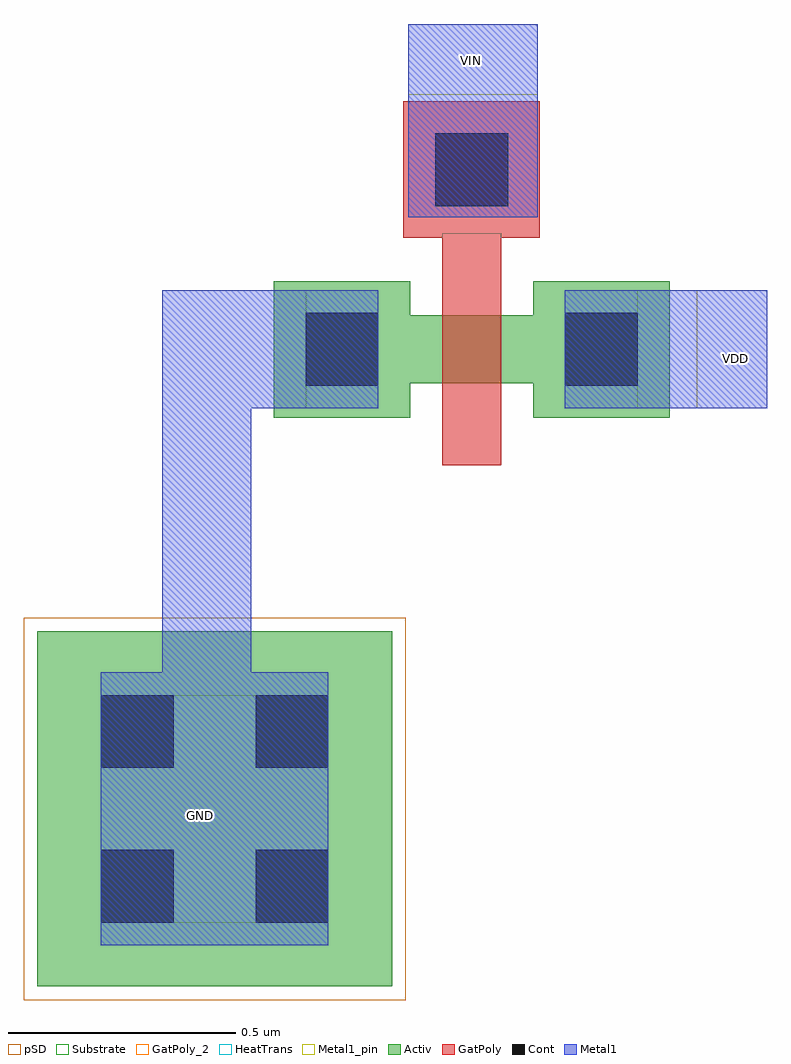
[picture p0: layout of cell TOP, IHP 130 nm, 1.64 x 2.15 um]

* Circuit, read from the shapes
.subckt TOP GND VDD VIN
XM1 VDD VIN GND GND sg13_lv_nmos w=0.15u l=0.13u
.ends

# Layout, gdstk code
import gdstk
lib = gdstk.Library(unit=1e-6, precision=1e-09)
def R(c, l, rs):  # rectangles x0, y0, x1, y1
    for r in rs: c.add(gdstk.rectangle(r[:2], r[2:], *l))
def P(c, l, *ps):  # polygons
    for p in ps: c.add(gdstk.Polygon(p, *l))
Activ = (1, 0)
GatPoly = (5, 0)
GatPoly_2 = (5, 2)
Cont = (6, 0)
Metal1 = (8, 0)
Metal1_pin = (8, 2)
pSD = (14, 0)
Substrate = (40, 0)
HeatTrans = (51, 0)

ptap1 = lib.new_cell('ptap1')
R(ptap1, Activ, [(0,0,0.78,0.78)])
R(ptap1, Cont, [(0.14,0.14,0.3,0.3), (0.48,0.14,0.64,0.3), (0.14,0.48,0.3,0.64), (0.48,0.48,0.64,0.64)])
R(ptap1, Metal1, [(0.14,0.09,0.64,0.69), (0.14,0.14,0.64,0.64)])
R(ptap1, Metal1_pin, [(0.14,0.14,0.64,0.64)])
R(ptap1, pSD, [(-0.03,-0.03,0.81,0.81)])
R(ptap1, Substrate, [(0,0,0.78,0.78)])
ptap1.add(gdstk.Label('sub!', (0.39,0.01), layer=63, texttype=0))
ptap1.add(gdstk.Label('sub!', (0.39,0.01), layer=40, texttype=0))

nmos = lib.new_cell('nmos')
R(nmos, Activ, [(0,0,0.3,0.3), (0.57,0,0.87,0.3), (0,0.075,0.87,0.225)])
R(nmos, GatPoly, [(0.37,-0.105,0.5,0.405)])
R(nmos, GatPoly_2, [(0.37,-0.105,0.5,0.405)])
R(nmos, Cont, [(0.07,0.07,0.23,0.23), (0.64,0.07,0.8,0.23)])
R(nmos, Metal1, [(0.07,0.02,0.23,0.28), (0.64,0.02,0.8,0.28)])
R(nmos, Metal1_pin, [(0.07,0.02,0.23,0.28), (0.64,0.02,0.8,0.28)])
R(nmos, HeatTrans, [(0.37,-0.105,0.5,0.405)])
nmos.add(gdstk.Label('nmos', (0.435,0.15), layer=63, texttype=0))
nmos.add(gdstk.Label('nmos', (0.435,0.15), layer=51, texttype=0))

top = lib.new_cell('TOP')
R(top, GatPoly, [(1.35,0.715,1.65,1.015)])
R(top, Cont, [(1.42,0.785,1.58,0.945)])
R(top, Metal1, [(1.705,0.34,2.15,0.6), (1.36,0.76,1.645,1.185)])
P(top, Metal1, [(0.82,-0.29),(0.82,0.6),(1.295,0.6),(1.295,0.34),(1.015,0.34),(1.015,-0.29)])
R(top, Metal1_pin, [(1.995,0.34,2.15,0.6), (1.36,1.03,1.645,1.185)])
top.add(gdstk.Reference(ptap1, (0.545,-0.93)))
top.add(gdstk.Reference(nmos, (1.065,0.32)))
top.add(gdstk.Label('VDD', (2.08,0.45), layer=8, texttype=2))
top.add(gdstk.Label('VIN', (1.5,1.105), layer=8, texttype=2))
top.add(gdstk.Label('GND', (0.905,-0.555), layer=8, texttype=2))

lib.write_gds('TOP.gds')
